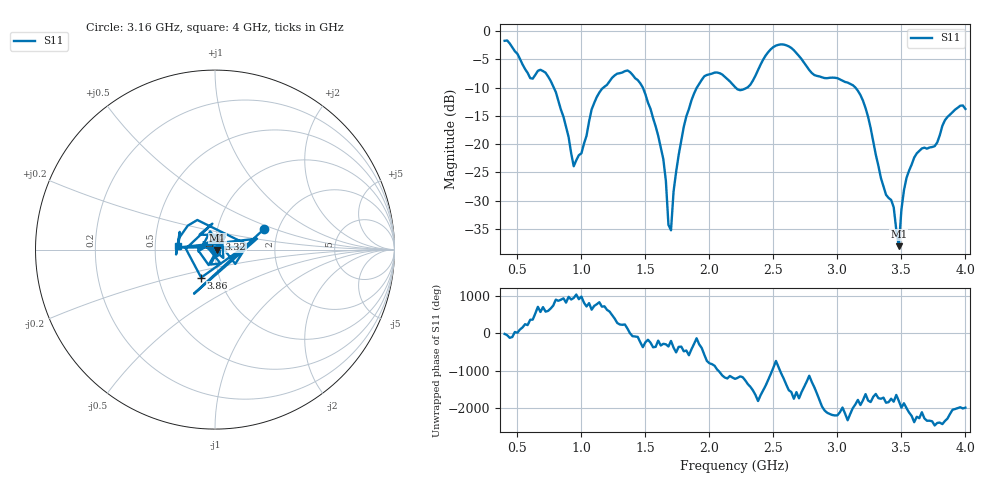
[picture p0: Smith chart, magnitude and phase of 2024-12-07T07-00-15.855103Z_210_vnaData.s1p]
!Created with skrf (http://scikit-rf.org).
# Hz S RI R 50.0
!freq ReS11 ImS11
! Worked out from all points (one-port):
!   181 points, 400 MHz to 4 GHz, reference 50 ohm
!   lowest |S11| = -38.1 dB at 3.48 GHz (marker M1), VSWR 1.03, Z = 51.3 - j0.156 ohm
!   |S11| at or under -10 dB: 783.9 MHz to 1.172 GHz (388.1 MHz wide, 39.7 % of centre); 1.48 GHz to 1.902 GHz (421.8 MHz wide, 24.9 % of centre); 3.141 GHz to end of sweep (the widest 3 of 4)
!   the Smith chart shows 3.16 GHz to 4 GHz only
!   S11 on the Smith chart (normalised r, x): 3.16 GHz: 1.69, +0.42; 3.32 GHz: 1.04, +0.13; 3.86 GHz: 0.82, -0.26; 4 GHz: 0.66, +0.03
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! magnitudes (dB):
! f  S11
! 400 MHz  -1.7
! 600 MHz  -8.3
! 720 MHz  -7.4
! 860 MHz  -15.2
! 940 MHz  -23.9
! 1.12 GHz  -11.7
! 1.3 GHz  -7.4
! 1.44 GHz  -8.7
! 1.54 GHz  -13.8
! 1.64 GHz  -22.7
! 1.68 GHz  -34.3
! 1.7 GHz  -35.3
! 1.72 GHz  -28.4
! 1.76 GHz  -21.9
! 1.86 GHz  -12.2
! 1.96 GHz  -8.0
! 2.2 GHz  -9.9
! 2.5 GHz  -2.8
! 2.66 GHz  -3.4
! 3.1 GHz  -9.3
! 3.16 GHz  -10.6
! 3.32 GHz  -23.8
! 3.44 GHz  -31.2
! 3.48 GHz  -38.1
! 3.52 GHz  -28.2
! 3.56 GHz  -24.7
! 3.86 GHz  -15.2
! 4 GHz  -13.8
